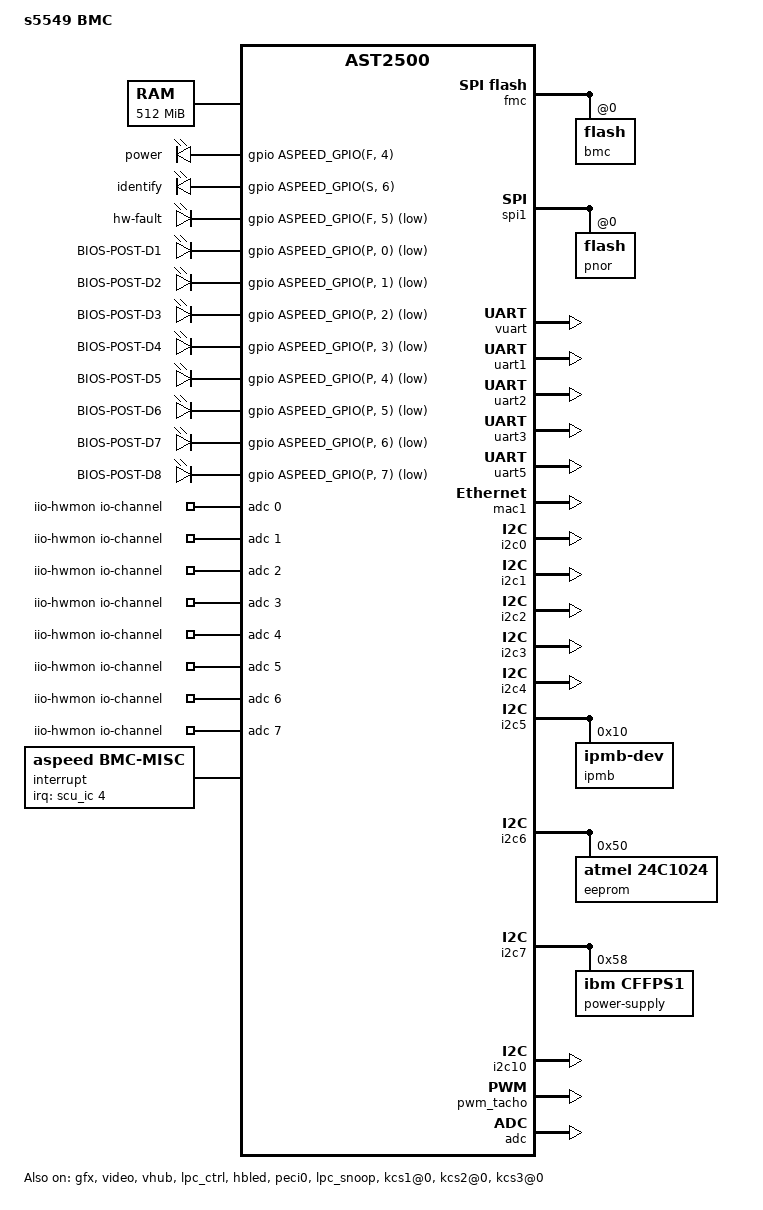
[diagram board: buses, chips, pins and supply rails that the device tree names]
// SPDX-License-Identifier: GPL-2.0
// Copyright (c) 2017 Intel Corporation
/dts-v1/;

#include "aspeed-g5.dtsi"
#include <dt-bindings/gpio/aspeed-gpio.h>

/ {
    model = "s5549 BMC";
    compatible = "mct,s5549-bmc", "aspeed,ast2500";

    chosen {
        stdout-path = &uart5;
        bootargs = "earlyprintk";
    };

    memory {
        reg = <0x80000000 0x20000000>;
    };

    reserved-memory {
        #address-cells = <1>;
        #size-cells = <1>;
        ranges;

        flash_memory: region@98000000 {
            no-map;
            reg = <0x98000000 0x02000000>; /* 32M */
        };

		ramoops@9c000000 {
			compatible = "ramoops";
			reg = <0x9c000000 0x180000>; /* 16 * (3 * 0x8000) */
			record-size = <0x8000>;
			console-size = <0x8000>;
			pmsg-size = <0x8000>;
			max-reason = <3>; /* KMSG_DUMP_EMERG */
		};

		gfx_memory: framebuffer@9f000000 {
			no-map;
			compatible = "shared-dma-pool";
			reg = <0x9f000000 0x01000000>; /* 16M */
        };

    };

    leds {
        compatible = "gpio-leds";

        power {
            gpios = <&gpio ASPEED_GPIO(F, 4) GPIO_ACTIVE_HIGH>;
        };

        identify {
            gpios = <&gpio ASPEED_GPIO(S, 6) GPIO_ACTIVE_HIGH>;
        };

        hw-fault {
            gpios = <&gpio ASPEED_GPIO(F, 5) GPIO_ACTIVE_LOW>;
        };

        BIOS-POST-D1 {
            gpios = <&gpio ASPEED_GPIO(P, 0) GPIO_ACTIVE_LOW>;
        };

        BIOS-POST-D2 {
            gpios = <&gpio ASPEED_GPIO(P, 1) GPIO_ACTIVE_LOW>;
        };

        BIOS-POST-D3 {
            gpios = <&gpio ASPEED_GPIO(P, 2) GPIO_ACTIVE_LOW>;
        };

        BIOS-POST-D4 {
            gpios = <&gpio ASPEED_GPIO(P, 3) GPIO_ACTIVE_LOW>;
        };

        BIOS-POST-D5 {
            gpios = <&gpio ASPEED_GPIO(P, 4) GPIO_ACTIVE_LOW>;
        };

        BIOS-POST-D6 {
            gpios = <&gpio ASPEED_GPIO(P, 5) GPIO_ACTIVE_LOW>;
        };

        BIOS-POST-D7 {
            gpios = <&gpio ASPEED_GPIO(P, 6) GPIO_ACTIVE_LOW>;
        };

        BIOS-POST-D8 {
            gpios = <&gpio ASPEED_GPIO(P, 7) GPIO_ACTIVE_LOW>;
        };
    };

    iio-hwmon {
        compatible = "iio-hwmon";
        io-channels = <&adc 0>, <&adc 1>, <&adc 2>, <&adc 3>,
            <&adc 4>, <&adc 5>, <&adc 6>, <&adc 7>,
            <&adc 8>, <&adc 9>, <&adc 10>, <&adc 11>,
            <&adc 12>, <&adc 13>, <&adc 14>, <&adc 15>;
    };
};

&fmc {
    status = "okay";
    flash@0 {
        status = "okay";
        m25p,fast-read;
        label = "bmc";
#include "openbmc-flash-layout.dtsi"
    };
};

&spi1 {
    status = "okay";
    pinctrl-names = "default";
    pinctrl-0 = <&pinctrl_spi1_default>;

    flash@0 {
        status = "okay";
        m25p,fast-read;
        label = "pnor";
    };
};

&vuart {
       status = "okay";
};

&uart1 {
    status = "okay";
   pinctrl-names = "default";
   pinctrl-0 = <&pinctrl_txd1_default
            &pinctrl_rxd1_default
            &pinctrl_ncts1_default
            &pinctrl_ndcd1_default
            &pinctrl_ndsr1_default
            &pinctrl_nri1_default
            &pinctrl_ndtr1_default
            &pinctrl_nrts1_default>;
};

&uart2 {
    status = "okay";
    pinctrl-names = "default";
   pinctrl-0 = <&pinctrl_txd2_default
            &pinctrl_rxd2_default
            &pinctrl_ncts2_default
            &pinctrl_ndcd2_default
            &pinctrl_ndsr2_default
            &pinctrl_nri2_default
            &pinctrl_ndtr2_default
            &pinctrl_nrts2_default>;
};

&uart3 {
    status = "okay";
};

&uart5 {
    status = "okay";
};
/*
&mac0 {
    status = "okay";
    
    pinctrl-names = "default";
    pinctrl-0 = <&pinctrl_rmii1_default>;
    use-ncsi;
};
*/
&mac1 {
    status = "okay";

    pinctrl-names = "default";
    pinctrl-0 = <&pinctrl_rgmii2_default>;
};

&i2c0 {
    status = "okay";
};

&i2c1 {
    status = "okay";
};

&i2c2 {
    status = "okay";
};

&i2c3 {
    status = "okay";
};

&i2c4 {
    status = "okay";
};

&i2c5 {
    status = "okay";
    multi-master =<1>;
    ipmb@10 {
        compatible = "ipmb-dev";
        reg = <0x10>;
        i2c-protocol;

    };
};

&i2c6 {
    status = "okay";
    eeprom@50 {
        compatible = "atmel,24c1024";
        reg = <0x50>;
        pagesize = <32>;
    };
};

&i2c7 {
    status = "okay";
    power-supply@58 {
        compatible = "ibm,cffps1";
        reg = <0x58>;
    };
};

&i2c10 {
    status = "okay";
};

&gfx {
       status = "okay";
       memory-region = <&gfx_memory>;
};

&video {
       status = "okay";
       memory-region = <&gfx_memory>;
};

&vhub {
       status = "okay";
};

&pwm_tacho {
    status = "okay";
    pinctrl-names = "default";
    pinctrl-0 = <&pinctrl_pwm0_default &pinctrl_pwm1_default &pinctrl_pwm2_default &pinctrl_pwm3_default &pinctrl_pwm4_default &pinctrl_pwm5_default>;
    sysfan1@0 {
        reg = <0x00>;
        aspeed,fan-tach-ch = /bits/ 8 <0x00>;
    };

    sysfan2@1 {
        reg = <0x01>;
        aspeed,fan-tach-ch = /bits/ 8 <0x01>;
    };

    sysfan3@2 {
        reg = <0x02>;
        aspeed,fan-tach-ch = /bits/ 8 <0x02>;
    };

    sysfan4@3 {
        reg = <0x03>;
        aspeed,fan-tach-ch = /bits/ 8 <0x03>;
    };

    sysfan5@4 {
        reg = <0x04>;
        aspeed,fan-tach-ch = /bits/ 8 <0x04>;
    };

    sysfan5@5 {
        reg = <0x05>;
        aspeed,fan-tach-ch = /bits/ 8 <0x05>;
    };
};

&lpc_ctrl {
    status = "okay";
    memory-region = <&flash_memory>;
    flash = <&spi1>;
};

&adc {
    status = "okay";
};

&lpc_bmc {
    compatible = "aspeed,ast2500-lpc-bmc", "simple-mfd", "syscon";        
    reg = <0x0 0x80>;
    reg-io-width = <4>;
    #address-cells = <1>;
    #size-cells = <1>;
    ranges = <0x0 0x0 0x80>;

    kcs1@0 {
        compatible = "aspeed,ast2500-kcs-bmc";
        reg = <0x0 0x80>;
        interrupts = <8>;
        kcs_chan = <1>;
        kcs_addr = <0xca0>;
        status = "okay";
    };

    kcs2@0 {
        compatible = "aspeed,ast2500-kcs-bmc";
        reg = <0x0 0x80>;
        interrupts = <8>;
        kcs_chan = <2>;
        kcs_addr = <0xca8>;
        status = "okay";
    };

    kcs3@0 {
        compatible = "aspeed,ast2500-kcs-bmc";
        reg = <0x0 0x80>;
        interrupts = <8>;
        kcs_chan = <3>;
        kcs_addr = <0xca2>;
        status = "okay";
    };    

    interrupt {
        status = "okay";
        compatible = "aspeed,bmc-misc";
        interrupts-extended = <&scu_ic 4>;
        lpc-rst {
            offset = <0x08>;
            bit-mask = <1>;
            bit-shift = <6>;
        };
    };

};

&hbled {
    status = "okay";
};

&peci0 {
    status = "okay";
};

&gpio {
    status = "okay";

    pinctrl-names = "pass-through";
    pinctrl-0 = <&pinctrl_gpie0_default
            &pinctrl_gpie2_default>;

    gpio-line-names =
    /*A0-A7*/   "","","BMC_EUP_LOT6","","","","","",
    /*B0-B7*/   "","","","","","","PROCHOT","",
    /*C0-C7*/   "","","","","","","","",
    /*D0-D7*/   "","","","","","PHY_RST","","CLR_CMOS",
    /*E0-E7*/   "RESET_BUTTON","RSTBTN_OUT","POWER_BUTTON","PWRBTN_OUT","NMI_BUTTON","","","",
    /*F0-F7*/   "PCH_NMI","","","","","","","",
    /*G0-G7*/   "","CATERR","","","BAT_MON","","","BIOS_SPI_SW",
    /*H0-H7*/   "","","","SYS_FAULT1","","","SYS_FAULT2","",
    /*I0-I7*/   "","","","","","","","",
    /*J0-J7*/   "","","","","","","","",
    /*K0-K7*/   "","","","","","","","",
    /*L0-L7*/   "","","","","","","","",
    /*M0-M7*/   "","","","","","","","",
    /*N0-N7*/   "","","","","","","","",
    /*O0-O7*/   "","","","","","","","",
    /*P0-P7*/   "","","","","","","","",
    /*Q0-Q7*/   "","","","","","","FLASH_SEC_OVRD","",
    /*R0-R7*/   "THERMTRIP","","","","","","","",
    /*S0-S7*/   "ID_BUTTON","PS_PWROK","","","","","","",
    /*T0-T7*/   "","","","","","","","",
    /*U0-U7*/   "","","","","","","","",
    /*V0-V7*/   "","","","","","","","",
    /*W0-W7*/   "","","","","","","","",
    /*X0-X7*/   "","","","","","","","",
    /*Y0-Y7*/   "","","","","","","","",
    /*Z0-Z7*/   "","","","PCH_SCI_LPC","","","","",
    /*AA0-AA7*/ "POST_START","","","","","POST_COMPLETE","","",
    /*AB0-AB7*/ "","","","","","","","",
    /*AC0-AC7*/ "","","","","","","","";
};

&lpc_snoop {
    status = "okay";
    snoop-ports = <0x80>;
};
